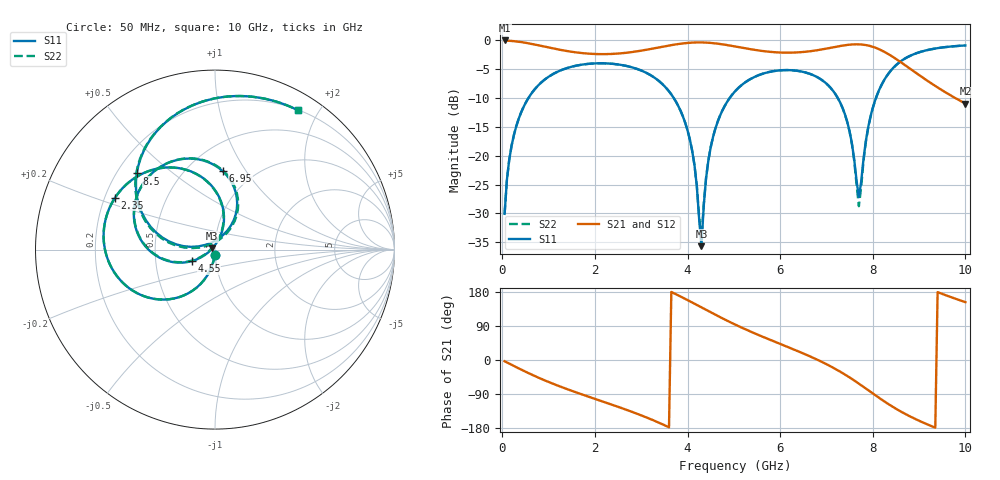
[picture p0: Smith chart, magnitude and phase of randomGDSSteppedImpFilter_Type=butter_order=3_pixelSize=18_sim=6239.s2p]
! freq	dB(S11)	phase(S11)	dB(S12)	phase(S12)
!  dB(S21)	phase(S21)	dB(S22)	phase(S22)
!S-par simulation data
#  GHz  S  DB  R 50
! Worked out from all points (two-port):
!   200 points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, 50 MHz to 10 GHz, reference 50 ohm
!   highest |S21| = -0.02 dB at 50 MHz (marker M1); lowest = -11.0 dB at 10 GHz (marker M2)
!   |S21| within 3 dB of the highest: start of sweep to 8.464 GHz
!   lowest |S11| = -35.7 dB at 4.3 GHz (marker M3), VSWR 1.03, Z = 48.5 + j0.698 ohm
!   |S11| at or under -10 dB: start of sweep to 564.7 MHz; 3.702 GHz to 4.91 GHz (1.208 GHz wide, 28 % of centre); 7.245 GHz to 8.069 GHz (824.1 MHz wide, 10.8 % of centre)
!   |S22| runs from -34.5 to -0.9 dB; largest |S21 - S12| = 0
!   S11 on the Smith chart (normalised r, x): 50 MHz: 0.99, -0.06; 2.35 GHz: 0.24, +0.23; 4.55 GHz: 0.76, -0.10; 6.95 GHz: 0.73, +0.79; 8.5 GHz: 0.28, +0.38; 10 GHz: 0.21, +1.74
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0.05  -30.07 -93.7  -0.02 -3.3  -0.02 -3.3  -30.07 -93.7
0.2  -18.28 -103.6  -0.10 -12.6  -0.10 -12.6  -18.28 -103.6
0.5  -10.90 -121.5  -0.42 -30.8  -0.42 -30.8  -10.90 -121.5
1.75  -4.18 177.4  -2.23 -92.1  -2.23 -92.1  -4.18 177.5
2.35  -4.05 152.5  -2.36 -117.2  -2.36 -117.2  -4.05 152.6
3.4  -7.17 104.3  -1.20 -166.4  -1.20 -166.4  -7.17 104.5
4.05  -17.18 70.5  -0.42 155.0  -0.42 155.0  -17.17 71.4
4.2  -25.23 71.0  -0.36 145.3  -0.36 145.3  -25.13 73.5
4.3  -35.68 154.1  -0.36 138.8  -0.36 138.8  -34.48 152.4
4.4  -23.94 -152.0  -0.39 132.3  -0.39 132.3  -23.84 -154.3
4.55  -16.77 -153.7  -0.48 122.7  -0.48 122.7  -16.75 -154.8
5.05  -8.63 -179.9  -1.09 92.3  -1.09 92.3  -8.63 179.6
5.75  -5.51 144.3  -1.97 54.9  -1.97 54.9  -5.50 143.9
6.7  -5.99 97.7  -1.83 6.5  -1.83 6.5  -5.99 97.1
6.95  -7.17 84.2  -1.50 -8.0  -1.50 -8.0  -7.17 83.5
7.45  -14.16 57.6  -0.79 -42.2  -0.79 -42.2  -14.20 55.6
7.7  -27.18 113.2  -0.69 -62.4  -0.69 -62.4  -28.74 112.0
7.95  -13.23 172.3  -1.00 -83.9  -1.00 -83.9  -13.31 174.2
8.35  -5.64 146.2  -2.45 -117.3  -2.45 -117.3  -5.65 146.9
8.5  -4.31 135.8  -3.21 -128.5  -3.21 -128.5  -4.32 136.3
9.2  -1.64 94.8  -7.12 -171.0  -7.12 -171.0  -1.65 95.1
10  -0.88 59.2  -10.96 152.7  -10.96 152.7  -0.88 59.4
